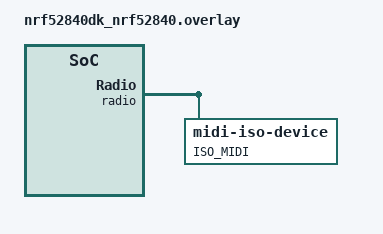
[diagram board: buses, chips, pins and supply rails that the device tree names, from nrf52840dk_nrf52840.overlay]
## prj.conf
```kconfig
# Enable DK LED and Buttons library
CONFIG_DK_LIBRARY=y
CONFIG_GPIO=y

# Config logger
CONFIG_LOG=y
CONFIG_USE_SEGGER_RTT=y
CONFIG_LOG_BACKEND_RTT=y
CONFIG_LOG_BACKEND_UART=n


CONFIG_USB_DRIVER_LOG_LEVEL_DBG=y
CONFIG_USB_DEVICE_LOG_LEVEL_DBG=y

CONFIG_ASSERT=y

#USB related configs
# CONFIG_USB_DEVICE_DRIVER=y
CONFIG_USB_DEVICE_STACK=y
CONFIG_USB_DEVICE_PRODUCT="Zephyr USB ISO MIDI sample"

#net buf options
# CONFIG_NET_BUF=y
# CONFIG_NET_BUF_USER_DATA_SIZE=0



CONFIG_HEAP_MEM_POOL_SIZE=2048


# Enable the BLE stack
CONFIG_BT=y

CONFIG_BT_ISO_BROADCASTER=y
CONFIG_LOG=y
CONFIG_BT_DEVICE_NAME="Test ISO Broadcaster"

CONFIG_BT_ISO_MAX_CHAN=1
CONFIG_BT_ISO_TX_BUF_COUNT=2

# Just needs to send a uint32_t value
CONFIG_BT_ISO_TX_MTU=96
CONFIG_BT_CTLR_ADV_ISO=y
CONFIG_BT_CTLR_ADV_ISO_PDU_LEN_MAX=96
CONFIG_BT_CTLR_ADV_ISO_STREAM_MAX=1

CONFIG_BT_CTLR_ISOAL_SOURCES=1

CONFIG_BT_CTLR_ADV_DATA_LEN_MAX=96

# FIXME: Host needs CONFIG_BT_ISO_TX_MTU + 4 bytes for sequence number, and
# optionally additional + 4 bytes for timestamp when not using
# BT_ISO_TIMESTAMP_NONE in bt_iso_chan_send(), otherwise Host tries to fragment
# ISO data.
# When Host is fixed, CONFIG_BT_CTLR_ISO_TX_BUFFER_SIZE can inherit the
# CONFIG_BT_ISO_TX_MTU value.
CONFIG_BT_CTLR_ISO_TX_BUFFER_SIZE=100
CONFIG_BT_CTLR_ISOAL_SN_STRICT=n
CONFIG_BT_LL_SW_SPLIT=y

# This example requires more workqueue stack
CONFIG_SYSTEM_WORKQUEUE_STACK_SIZE=4096

CONFIG_MIDI=y
CONFIG_MIDI_ISO_BROADCASTER=y
CONFIG_MIDI_PARSER=y
CONFIG_USB_DEVICE_MIDI=y

# Enable the UART driver
CONFIG_UART_ASYNC_API=y
CONFIG_NRFX_UARTE0=y
CONFIG_SERIAL=y
```

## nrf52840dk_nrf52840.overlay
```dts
/*
 * Copyright (c) 2019 Nordic Semiconductor ASA
 *
 * SPDX-License-Identifier: Apache-2.0
 */

&zephyr_udc0 {
	midi_device {
		compatible = "usb-midi-device";
		label = "USB_MIDI";

		midi_interface_1 {
			compatible = "usb-midi-interface";
			index = <1>;
			setting_0 {
				compatible = "usb-midi-setting";
				revision = "MIDI 1.0";
				index = <0>;

				jack_1: jack_1 {
					label = "USB_MIDI_IN";
					compatible = "usb-midi-jack-pair";
					type-out = "EXTERNAL";
					type-in = "EMBEDDED";
					id-out = <4>;
					id-in = <1>;
				};

				jack_2: jack_2 {
					label = "USB_MIDI_OUT";
					compatible = "usb-midi-jack-pair";
					type-out = "EMBEDDED";
					type-in = "EXTERNAL";
					id-out = <3>;
					id-in = <2>;
				};
		
				ep_out_1: endpoint_out_1 {
					compatible = "usb-midi-endpoint";
					direction = "OUT";
					type = "BULK";
					ep-num = <1>;
					assoc-entities = <&jack_1>;
					
				};
		
				ep_in_1: endpoint_in_1 {
					compatible = "usb-midi-endpoint";
					direction = "IN";
					type = "BULK";
					ep-num = <1>;
					assoc-entities = <&jack_2>;
				};
			};
			
			setting_1 {
				compatible = "usb-midi-setting";
				revision = "MIDI 2.0";
				index = <1>;

				ep_out_2: endpoint_out_2 {
					compatible = "usb-midi-endpoint";
					direction = "OUT";
					type = "BULK";
					ep-num = <5>;
					assoc-entities = <&gt_1>;
					
				};
		
				ep_in_2: endpoint_in_2 {
					compatible = "usb-midi-endpoint";
					direction = "IN";
					type = "INTERRUPT";
					ep-num = <5>;
					assoc-entities = <&gt_1>;
					interval = <1>;
				};
		
				gt_1: gt_1 {
					compatible = "usb-midi-group-terminal-block";
					id = <1>;
					type = "IN-OUT";
					group-terminal = <0>;
					num-group-terminals = <1>;
					protocol = "UNKNOWN";
					in-bandwidth = <1>;
				};
			};
		};
	};
};

&radio{
	midi_iso_device {
		compatible = "midi-iso-device";
		label = "ISO_MIDI";
		midi_iso_broadcast_device {
			label = "ISO_MIDI_BROADCASTER";
			compatible = "midi-iso-broadcaster-device";
		};
    };
};
```

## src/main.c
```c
#include <zephyr/types.h>
#include <zephyr/device.h>
#include <soc.h>

#include <dk_buttons_and_leds.h>
#include <zephyr/usb/usb_device.h>
#include <usb/class/usb_midi.h>
#include <midi/midi.h>
#include <midi/midi_iso.h>
#include <midi/midi_parser.h>

#include <zephyr/logging/log.h>

#define LOG_MODULE_NAME USB_ISO_midi
LOG_MODULE_REGISTER(LOG_MODULE_NAME);

#define RUN_STATUS_LED DK_LED1
#define RUN_LED_BLINK_INTERVAL 1000

const struct device *usb_midi_in_dev;
const struct device *usb_midi_out_dev;
const struct device *iso_midi_out_dev;

DEFINE_MIDI_PARSER_SERIAL(usb_serial_parser);

static int midi_iso_sent(const struct device *dev,
			  midi_msg_t *msg,
			  void *user_data)
{
	LOG_INF("MIDI ISO sent!");
	
	midi_msg_unref(msg);

	return 0;
}

static int midi_usb_sent(const struct device *dev,
			  midi_msg_t *msg,
			  void *user_data)
{

	if (!msg) {
		/* This should never happen */
		return -EINVAL;
	}

	LOG_INF("MIDI sent! mhm");

	midi_msg_unref(msg);

	return 0;
}

static int midi_usb_received(const struct device *dev,
			  midi_msg_t *msg,
			  void *user_data)
{
	midi_msg_t *parsed_msg = NULL;
	midi_msg_t * serial_msg;
	uint8_t pos = 1;
	LOG_INF("SKJER");
	if (!msg) {
		/* This should never happen */
		return -EINVAL;
	}
	// LOG_HEXDUMP_INF(msg->data, msg->len, "main:");
	
	while(!parsed_msg) {
		serial_msg = midi_msg_alloc(NULL, 1);
        memcpy(serial_msg->data, (void*)(msg->data + pos), 1);
        serial_msg->format = MIDI_FORMAT_1_0_SERIAL;
        serial_msg->len = 1;
        parsed_msg = midi_parse_serial(serial_msg, &usb_serial_parser);
        midi_msg_unref(serial_msg);
		pos++;
        // if (parsed_msg) {
        //     return parsed_msg;
        // }
	}
	midi_msg_unref(msg);
	// midi_msg_unref(parsed_msg);
	LOG_HEXDUMP_INF(parsed_msg->data, parsed_msg->len, "parsed_msg:");
	midi_send(iso_midi_out_dev, parsed_msg);
	return 0;
}

const struct device * get_port(const char* name, 
			midi_transfer cb, void *user_data)
{
	int err;
	const struct device * dev;
	dev = device_get_binding(name);
	if (!dev) {
		LOG_ERR("Can not get device: %s", name);
	}
	err = midi_callback_set(dev, cb, user_data);
	if (err != 0) {
		LOG_ERR("Can not set callbacks for device: %s", name);
	}
	return dev;
}

void main(void)
{
	int blink_status = 0;
	int err;
	const struct device *usb_midi_dev;

	usb_midi_dev = device_get_binding("USB_MIDI");
	if (!usb_midi_dev) {
		LOG_ERR("Can not get USB MIDI Device");
		return;
	}


	iso_midi_out_dev = get_port("ISO_MIDI_BROADCASTER", 
		midi_iso_sent, NULL);

	usb_midi_in_dev = get_port("USB_MIDI_IN", 
		midi_usb_received, NULL);

	usb_midi_out_dev = get_port("USB_MIDI_OUT", 
		midi_usb_sent, NULL);

	// usb_midi_register(usb_midi_dev, &ops);
	
	err = usb_enable(NULL);
	if (err != 0) {
		LOG_ERR("Failed to enable USB");
		return;
	}

	// LOG_INF("USB enabled");

	err = dk_leds_init();
	if (err) {
		LOG_ERR("Cannot init LEDs (err: %d)", err);
	}

	test_func();

	for (;;) {
		dk_set_led(RUN_STATUS_LED, (++blink_status) % 2);
		k_sleep(K_MSEC(RUN_LED_BLINK_INTERVAL));
	}
}
```
